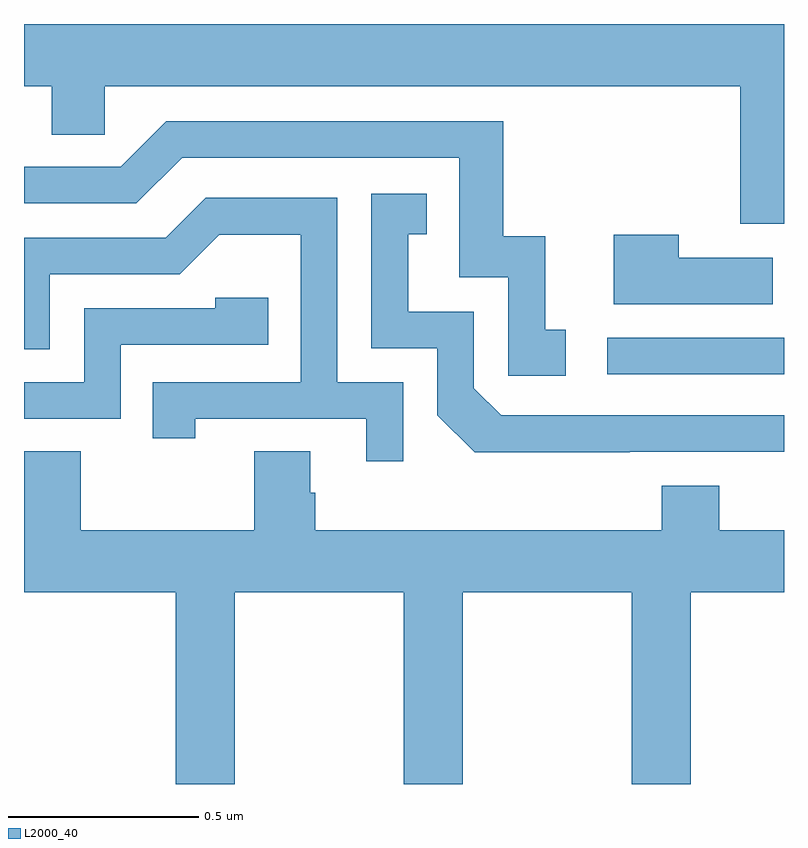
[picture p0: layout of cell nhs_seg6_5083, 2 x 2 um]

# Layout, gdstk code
import gdstk
lib = gdstk.Library(unit=1e-6, precision=1e-09)
def R(c, l, rs):  # rectangles x0, y0, x1, y1
    for r in rs: c.add(gdstk.rectangle(r[:2], r[2:], *l))
def P(c, l, *ps):  # polygons
    for p in ps: c.add(gdstk.Polygon(p, *l))
L2000_40 = (2000, 40)

nhs_seg6_5083 = lib.new_cell('nhs_seg6_5083')
R(nhs_seg6_5083, L2000_40, [(179.535,946.578,180,946.674)])
P(nhs_seg6_5083, L2000_40, [(180,947.5),(178,947.5),(178,947.336),(178.073,947.336),(178.073,947.209),(178.212,947.209),(178.212,947.336),(179.885,947.336),(179.885,946.974),(180,946.974)],
  [(179.425,946.695),(179.372,946.695),(179.372,946.942),(179.261,946.942),(179.261,947.244),(178.374,947.244),(178.254,947.124),(178,947.124),(178,947.028),(178.296,947.028),(178.416,947.148),(179.145,947.148),(179.145,946.833),(179.274,946.833),(179.274,946.575),(179.425,946.575)],
  [(179.594,946.374),(180,946.374),(180,946.47),(179.256,946.47),(179.184,946.542),(179.184,946.743),(179.011,946.743),(179.011,946.947),(179.06,946.947),(179.06,947.053),(178.914,947.053),(178.914,946.647),(179.088,946.647),(179.088,946.47),(179.186,946.373),(179.594,946.373)],
  [(178.998,946.557),(178.824,946.557),(178.824,947.043),(178.478,947.043),(178.373,946.938),(178,946.938),(178,946.644),(178.068,946.644),(178.068,946.842),(178.41,946.842),(178.514,946.946),(178.728,946.946),(178.728,946.557),(178.339,946.557),(178.339,946.41),(178.45,946.41),(178.45,946.461),(178.901,946.461),(178.901,946.35),(178.998,946.35)],
  [(179.971,946.885),(179.723,946.885),(179.723,946.945),(179.552,946.945),(179.552,946.763),(179.971,946.763)],
  [(178.254,946.656),(178.643,946.656),(178.643,946.779),(178.503,946.779),(178.503,946.752),(178.158,946.752),(178.158,946.557),(178,946.557),(178,946.461),(178.254,946.461)],
  [(178.766,946.266),(178.753,946.266),(178.753,946.376),(178.606,946.376),(178.606,946.168),(178.149,946.168),(178.149,946.376),(178.001,946.376),(178.001,946.266),(178,946.266),(178,946.004),(178.399,946.004),(178.399,945.5),(178.554,945.5),(178.554,946.004),(178.999,946.004),(178.999,945.5),(179.154,945.5),(179.154,946.004),(179.599,946.004),(179.599,945.5),(179.754,945.5),(179.754,946.004),(180,946.004),(180,946.168),(179.83,946.168),(179.83,946.285),(179.678,946.285),(179.678,946.168),(178.766,946.168)])

lib.write_gds('nhs_seg6_5083.gds')
